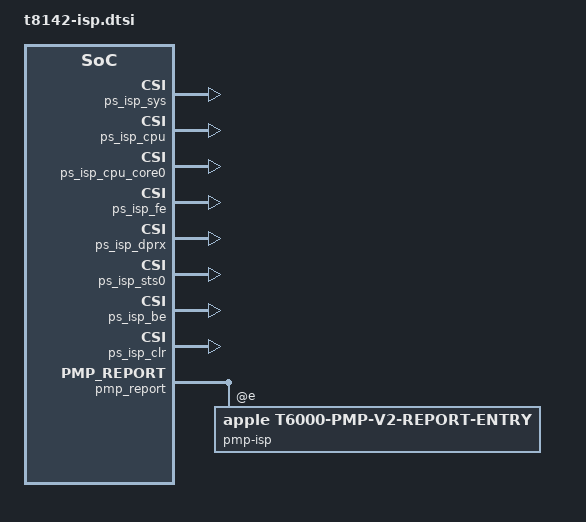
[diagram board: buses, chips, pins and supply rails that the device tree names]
// SPDX-License-Identifier: GPL-2.0-only
/* J813/T8142 ADT topology and runtime ISP control observations.
* Firmware/heap reservations are filled by the private development loader.
* IMX958 streaming and daylight image comparison qualified.
*/
/ {
	aliases { isp = &isp; };
	reserved-memory {
		isp_heap: isp-heap@0 {
			compatible = "apple,asc-mem";
			reg = <0 0 0 0>;
			no-map;
		};
	};
};
&{/soc} {
	isp: isp@4a0000000 {
		compatible = "apple,t8142-isp";
		/* Opaque tuning matching the installed ISP firmware and camera module. */
		firmware-name = "apple/isp/j813-imx958.dat";
		/* The control window ends before the separate DART/mailbox blocks. */
		reg = <4 0xa0000000 0 0x2000000>,
			<4 0xa2920000 0 0x100>,
			<4 0xa2921000 0 0x100>,
			<4 0xa2920410 0 0x100>,
			<4 0xa28a4000 0 0x1000>,
			<4 0xe3b10000 0 0x10>;
		reg-names = "coproc", "mbox", "gpio", "mbox2", "boot-control", "watchdog";
		interrupt-parent = <&aic>;
		interrupts = <0 425 4>;
		iommus = <&isp_dart0 0>, <&isp_dart1 0>, <&isp_dart2 0>;
		power-domains = <&pmp_report_isp>, <&ps_isp_cpu>,
			<&ps_isp_cpu_core0>, <&ps_isp_fe>, <&ps_isp_dprx>,
			<&ps_isp_sts0>, <&ps_isp_be>, <&ps_isp_clr>;
		memory-region = <&isp_heap>;
		memory-region-names = "heap";
		apple,dart-vm-size = <0 0xf0000000>;
		apple,platform-id = <0x71>;
		apple,aciphy-fuses = <18 16>;
		/* Deliberately activated only after loader fills reserved regions. */
		status = "disabled";
		sensor-presets {
			preset5 {
				apple,config-index = <5>;
				apple,input-size = <1920 2160>;
				apple,output-size = <1920 1080>;
				apple,crop = <0 0 1920 1080>;
			};
			/* Runtime config8: native 1520x1440 single-exposure capture. */
			preset8 {
				apple,config-index = <8>;
				apple,input-size = <1520 1440>;
				apple,output-size = <1520 1440>;
				apple,crop = <0 0 1520 1440>;
			};
			preset0 {
				apple,config-index = <0>;
				apple,input-size = <3072 3024>;
				apple,output-size = <1536 1512>;
				apple,crop = <0 0 3072 3024>;
			};
		};
	};
	isp_dart0: iommu@4a28c0000 {
		compatible = "apple,t8142-dart", "apple,t8110-dart";
		reg = <4 0xa28c0000 0 0xc000>;
		#iommu-cells = <1>;
		interrupt-parent = <&aic>;
		interrupts = <0 443 4>;
		power-domains = <&pmp_report_isp>;
		apple,sid-remap = <1 0>, <2 0>, <3 0>, <6 0>, <7 0>, <10 0>, <11 0>;
		apple,bypass-sids = <15>;
		apple,dma-range = <0x100 0 1 0>;
	};
	isp_dart1: iommu@4a28e0000 {
		compatible = "apple,t8142-dart", "apple,t8110-dart";
		reg = <4 0xa28e0000 0 0xc000>;
		#iommu-cells = <1>;
		interrupt-parent = <&aic>;
		interrupts = <0 443 4>;
		power-domains = <&pmp_report_isp>;
		apple,sid-remap = <1 0>, <2 0>, <3 0>, <6 0>, <7 0>, <10 0>, <11 0>;
		apple,bypass-sids = <15>;
		apple,dma-range = <0x100 0 1 0>;
	};
	isp_dart2: iommu@4a2900000 {
		compatible = "apple,t8142-dart", "apple,t8110-dart";
		reg = <4 0xa2900000 0 0xc000>;
		#iommu-cells = <1>;
		interrupt-parent = <&aic>;
		interrupts = <0 443 4>;
		power-domains = <&pmp_report_isp>;
		apple,sid-remap = <1 0>, <2 0>, <3 0>, <6 0>, <7 0>, <10 0>, <11 0>;
		apple,bypass-sids = <15>;
		apple,dma-range = <0x100 0 1 0>;
	};
};
&platform_pmgr {
	ps_isp_sys: power-controller@2f8 {
		compatible = "apple,t8142-pmgr-pwrstate", "apple,t8103-pmgr-pwrstate";
		reg = <0x2f8 4>;
		#power-domain-cells = <0>;
		#reset-cells = <0>;
		label = "isp_sys";
	};
	ps_isp_cpu: power-controller@4000 {
		compatible = "apple,t8142-pmgr-pwrstate", "apple,t8103-pmgr-pwrstate";
		reg = <0x4000 4>;
		#power-domain-cells = <0>;
		#reset-cells = <0>;
		label = "isp_cpu";
		power-domains = <&ps_isp_sys>;
		apple,no-auto-enable;
	};
	ps_isp_cpu_core0: power-controller@4008 {
		compatible = "apple,t8142-pmgr-pwrstate", "apple,t8103-pmgr-pwrstate";
		reg = <0x4008 4>;
		#power-domain-cells = <0>;
		#reset-cells = <0>;
		label = "isp_cpu_core0";
		power-domains = <&ps_isp_cpu>;
		apple,no-auto-enable;
	};
	ps_isp_fe: power-controller@4018 {
		compatible = "apple,t8142-pmgr-pwrstate", "apple,t8103-pmgr-pwrstate";
		reg = <0x4018 4>;
		#power-domain-cells = <0>;
		#reset-cells = <0>;
		label = "isp_fe";
		power-domains = <&ps_isp_sys>;
		apple,no-auto-enable;
	};
	ps_isp_dprx: power-controller@4020 {
		compatible = "apple,t8142-pmgr-pwrstate", "apple,t8103-pmgr-pwrstate";
		reg = <0x4020 4>;
		#power-domain-cells = <0>;
		#reset-cells = <0>;
		label = "isp_dprx";
		power-domains = <&ps_isp_fe>;
		apple,no-auto-enable;
	};
	ps_isp_sts0: power-controller@4030 {
		compatible = "apple,t8142-pmgr-pwrstate", "apple,t8103-pmgr-pwrstate";
		reg = <0x4030 4>;
		#power-domain-cells = <0>;
		#reset-cells = <0>;
		label = "isp_sts0";
		power-domains = <&ps_isp_fe>;
		apple,no-auto-enable;
	};
	ps_isp_be: power-controller@4048 {
		compatible = "apple,t8142-pmgr-pwrstate", "apple,t8103-pmgr-pwrstate";
		reg = <0x4048 4>;
		#power-domain-cells = <0>;
		#reset-cells = <0>;
		label = "isp_be";
		power-domains = <&ps_isp_fe>;
		apple,no-auto-enable;
	};
	ps_isp_clr: power-controller@4050 {
		compatible = "apple,t8142-pmgr-pwrstate", "apple,t8103-pmgr-pwrstate";
		reg = <0x4050 4>;
		#power-domain-cells = <0>;
		#reset-cells = <0>;
		label = "isp_clr";
		power-domains = <&ps_isp_be>;
		apple,no-auto-enable;
	};
};
&pmp_report {
	pmp_report_isp: report@e {
		compatible = "apple,t6000-pmp-v2-report-entry";
		reg = <14>;
		label = "pmp-isp";
		#power-domain-cells = <0>;
		power-domains = <&ps_isp_sys>;
	};
};
